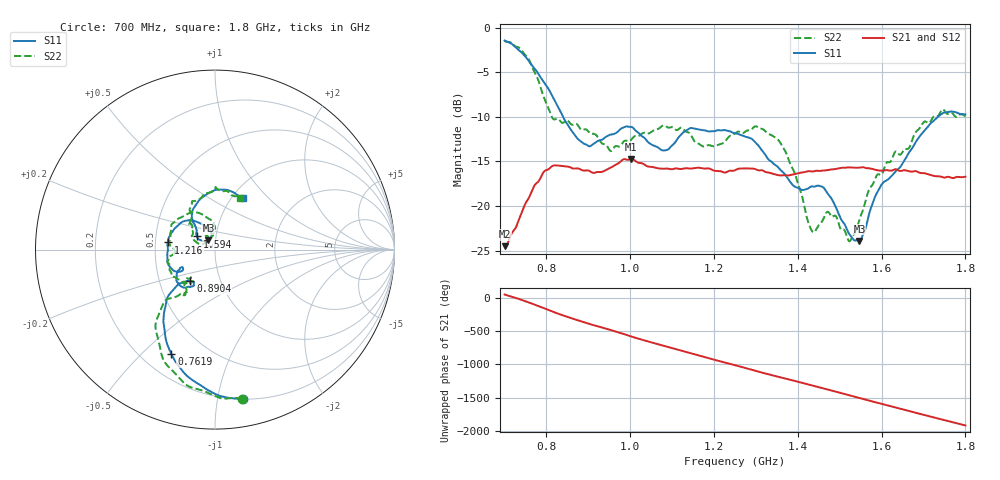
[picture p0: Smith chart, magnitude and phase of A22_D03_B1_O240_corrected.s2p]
! Created with skrf 1.9.0 (http://scikit-rf.org).
# Hz S RI R 50.0
!freq ReS11 ImS11 ReS21 ImS21 ReS12 ImS12 ReS22 ImS22
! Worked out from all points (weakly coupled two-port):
!   1601 points, 700 MHz to 1.8 GHz, reference 50 ohm
!   highest |S21| = -14.71 dB at 1.002 GHz (marker M1); lowest = -24.5 dB at 701.4 MHz (marker M2)
!   lowest |S11| = -23.9 dB at 1.547 GHz (marker M3), VSWR 1.14, Z = 46.2 + j4.85 ohm
!   |S11| at or under -10 dB: 839.6 MHz to 1.734 GHz (894.7 MHz wide, 69.5 % of centre)
!   |S22| runs from -23.9 to -1.5 dB; largest |S21 - S12| = 0.0035
!   S11 on the Smith chart (normalised r, x): 700 MHz: 0.20, -1.19; 761.9 MHz: 0.32, -0.62; 890.4 MHz: 0.72, -0.27; 1.216 GHz: 0.58, +0.05; 1.594 GHz: 0.81, +0.12; 1.8 GHz: 1.12, +0.72
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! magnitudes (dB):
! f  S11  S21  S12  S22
! 700 MHz  -1.4  -24.5  -24.3  -1.5
! 701.4 MHz  -1.5  -24.5  -24.1  -1.5
! 761.9 MHz  -4.0  -18.7  -18.6  -3.9
! 814.8 MHz  -7.7  -15.5  -15.6  -10.2
! 883.6 MHz  -12.8  -15.9  -15.8  -11.4
! 890.4 MHz  -13.0  -16.0  -16.0  -11.4
! 953 MHz  -12.0  -15.7  -15.7  -13.8
! 1.002 GHz  -11.1  -14.7  -14.8  -12.5
! 1.067 GHz  -13.5  -15.8  -15.7  -11.3
! 1.143 GHz  -11.3  -15.8  -15.8  -11.9
! 1.216 GHz  -11.5  -16.1  -16.1  -13.0
! 1.25 GHz  -11.8  -16.0  -15.9  -11.9
! 1.301 GHz  -13.0  -15.9  -15.9  -11.1
! 1.355 GHz  -15.7  -16.5  -16.5  -12.6
! 1.434 GHz  -17.8  -16.1  -16.1  -22.8
! 1.472 GHz  -18.6  -16.0  -16.0  -20.7
! 1.524 GHz  -23.2  -15.7  -15.7  -23.9
! 1.547 GHz  -23.9  -15.7  -15.7  -21.5
! 1.594 GHz  -18.1  -16.0  -16.0  -16.4
! 1.617 GHz  -16.9  -16.0  -16.0  -15.1
! 1.737 GHz  -9.9  -16.7  -16.7  -9.8
! 1.8 GHz  -9.7  -16.7  -16.7  -9.9
